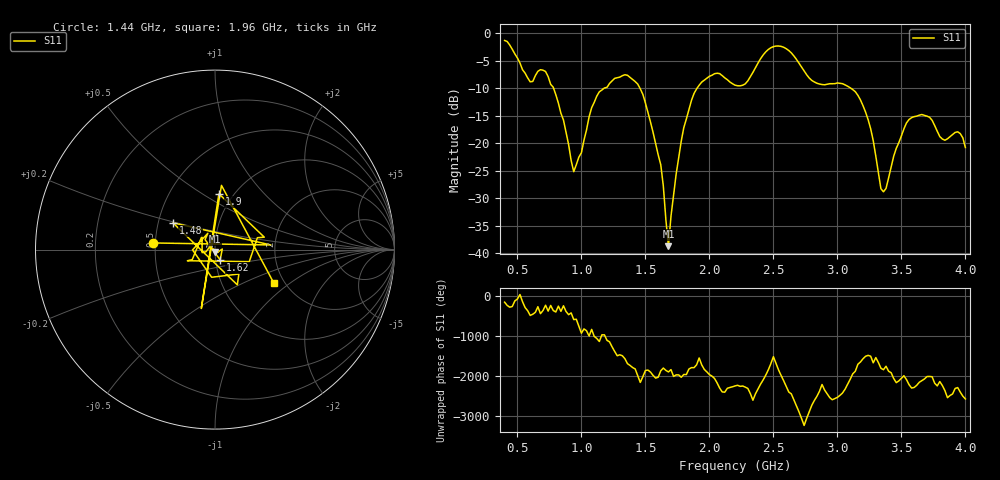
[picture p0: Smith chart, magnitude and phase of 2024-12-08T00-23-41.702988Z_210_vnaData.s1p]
!Created with skrf (http://scikit-rf.org).
# Hz S RI R 50.0
!freq ReS11 ImS11
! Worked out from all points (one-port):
!   181 points, 400 MHz to 4 GHz, reference 50 ohm
!   lowest |S11| = -38.7 dB at 1.68 GHz (marker M1), VSWR 1.02, Z = 49.9 - j1.15 ohm
!   |S11| at or under -10 dB: 782.6 MHz to 1.178 GHz (395 MHz wide, 40.3 % of centre); 1.457 GHz to 1.904 GHz (446.2 MHz wide, 26.5 % of centre); 3.105 GHz to end of sweep
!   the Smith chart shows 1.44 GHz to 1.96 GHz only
!   S11 on the Smith chart (normalised r, x): 1.44 GHz: 0.49, +0.04; 1.48 GHz: 0.60, +0.19; 1.62 GHz: 1.05, -0.12; 1.9 GHz: 0.86, +0.59; 1.96 GHz: 1.76, -0.75
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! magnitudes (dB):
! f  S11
! 400 MHz  -1.3
! 600 MHz  -8.8
! 720 MHz  -7.0
! 860 MHz  -15.8
! 940 MHz  -25.2
! 1.12 GHz  -11.4
! 1.3 GHz  -8.0
! 1.44 GHz  -9.2
! 1.48 GHz  -11.1
! 1.62 GHz  -23.9
! 1.68 GHz  -38.7
! 1.76 GHz  -22.7
! 1.8 GHz  -17.2
! 1.9 GHz  -10.1
! 1.96 GHz  -8.5
! 2.2 GHz  -9.4
! 2.28 GHz  -9.2
! 2.48 GHz  -2.6
! 2.66 GHz  -4.1
! 2.82 GHz  -8.9
! 3.1 GHz  -9.9
! 3.24 GHz  -15.7
! 3.36 GHz  -28.9
! 3.56 GHz  -15.7
! 3.72 GHz  -15.3
! 3.82 GHz  -19.2
! 3.94 GHz  -17.9
! 4 GHz  -20.8
